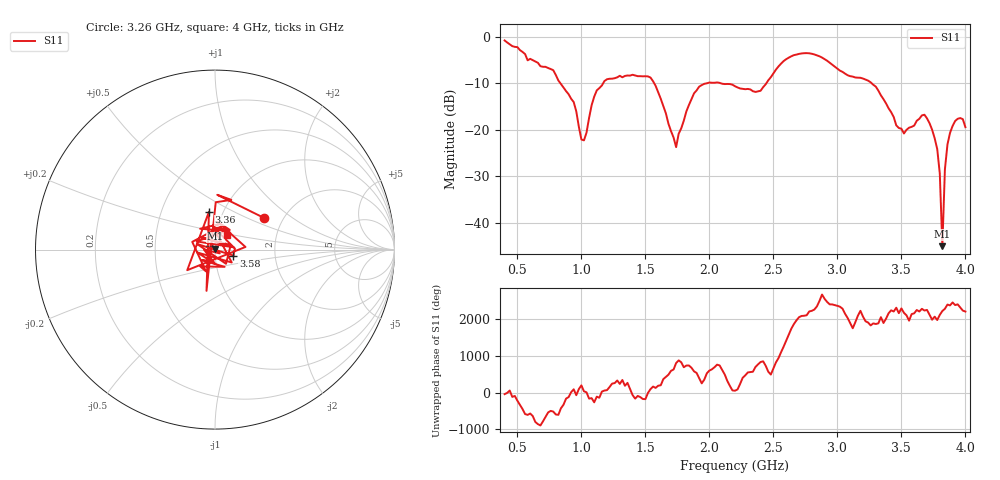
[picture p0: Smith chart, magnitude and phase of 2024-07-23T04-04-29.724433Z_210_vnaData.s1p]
!Created with skrf (http://scikit-rf.org).
# Hz S RI R 50.0
!freq ReS11 ImS11
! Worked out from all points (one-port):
!   181 points, 400 MHz to 4 GHz, reference 50 ohm
!   lowest |S11| = -45.0 dB at 3.82 GHz (marker M1), VSWR 1.01, Z = 50.2 + j0.514 ohm
!   |S11| at or under -10 dB: 1.569 GHz to 1.978 GHz (409.1 MHz wide, 23.1 % of centre); 2.091 GHz to 2.445 GHz (353.6 MHz wide, 15.6 % of centre); 3.268 GHz to end of sweep (the widest 3 of 4)
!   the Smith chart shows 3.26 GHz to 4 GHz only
!   S11 on the Smith chart (normalised r, x): 3.26 GHz: 1.59, +0.63; 3.36 GHz: 0.86, +0.38; 3.58 GHz: 1.22, -0.08; 4 GHz: 1.12, +0.19
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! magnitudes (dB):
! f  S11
! 400 MHz  -0.8
! 780 MHz  -7.2
! 860 MHz  -10.9
! 940 MHz  -14.0
! 1.02 GHz  -22.3
! 1.12 GHz  -11.5
! 1.3 GHz  -8.4
! 1.54 GHz  -8.8
! 1.74 GHz  -23.7
! 1.76 GHz  -20.8
! 1.92 GHz  -10.7
! 2.2 GHz  -10.6
! 2.4 GHz  -11.6
! 2.66 GHz  -3.9
! 3.1 GHz  -8.5
! 3.26 GHz  -9.8
! 3.36 GHz  -13.4
! 3.46 GHz  -19.0
! 3.56 GHz  -19.5
! 3.58 GHz  -19.4
! 3.68 GHz  -16.7
! 3.76 GHz  -21.8
! 3.8 GHz  -29.4
! 3.82 GHz  -45.0
! 3.84 GHz  -28.5
! 3.86 GHz  -23.1
! 3.92 GHz  -18.1
! 4 GHz  -19.4
